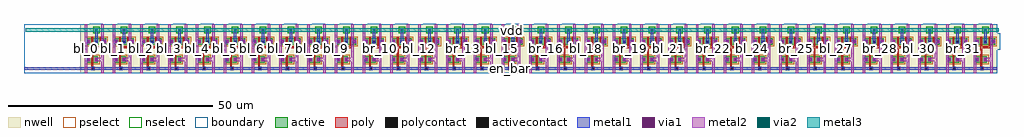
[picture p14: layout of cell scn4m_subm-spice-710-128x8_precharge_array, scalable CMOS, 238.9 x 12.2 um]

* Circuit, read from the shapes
.subckt scn4m_subm-spice-710-128x8_precharge_array bl_0 bl_1 bl_10 bl_11 bl_12 bl_13 bl_14 bl_15 bl_16 bl_17 bl_18 bl_19 bl_2 bl_20 bl_21 bl_22 bl_23 bl_24 bl_25 bl_26 bl_27 bl_28 bl_29 bl_3 bl_30 bl_31 bl_32 bl_4 bl_5 bl_6 bl_7 bl_8 bl_9 br_0 br_1 br_10 br_11 br_12 br_13 br_14 br_15 br_16 br_17 br_18 br_19 br_2 br_20 br_21 br_22 br_23 br_24 br_25 br_26 br_27 br_28 br_29 br_3 br_30 br_31 br_32 br_4 br_5 br_6 br_7 br_8 br_9 en_bar vdd
M1 br_0 en_bar bl_0 vdd pfet w=1.6u l=0.4u
M2 vdd en_bar bl_0 vdd pfet w=1.6u l=0.4u
M3 br_0 en_bar vdd vdd pfet w=1.6u l=0.4u
M4 br_1 en_bar bl_1 vdd pfet w=1.6u l=0.4u
M5 vdd en_bar bl_1 vdd pfet w=1.6u l=0.4u
M6 br_1 en_bar vdd vdd pfet w=1.6u l=0.4u
M7 br_2 en_bar bl_2 vdd pfet w=1.6u l=0.4u
M8 vdd en_bar bl_2 vdd pfet w=1.6u l=0.4u
M9 br_2 en_bar vdd vdd pfet w=1.6u l=0.4u
M10 br_3 en_bar bl_3 vdd pfet w=1.6u l=0.4u
M11 vdd en_bar bl_3 vdd pfet w=1.6u l=0.4u
M12 br_3 en_bar vdd vdd pfet w=1.6u l=0.4u
M13 br_4 en_bar bl_4 vdd pfet w=1.6u l=0.4u
M14 vdd en_bar bl_4 vdd pfet w=1.6u l=0.4u
M15 br_4 en_bar vdd vdd pfet w=1.6u l=0.4u
M16 br_5 en_bar bl_5 vdd pfet w=1.6u l=0.4u
M17 vdd en_bar bl_5 vdd pfet w=1.6u l=0.4u
M18 br_5 en_bar vdd vdd pfet w=1.6u l=0.4u
M19 br_6 en_bar bl_6 vdd pfet w=1.6u l=0.4u
M20 vdd en_bar bl_6 vdd pfet w=1.6u l=0.4u
M21 br_6 en_bar vdd vdd pfet w=1.6u l=0.4u
M22 br_7 en_bar bl_7 vdd pfet w=1.6u l=0.4u
M23 vdd en_bar bl_7 vdd pfet w=1.6u l=0.4u
M24 br_7 en_bar vdd vdd pfet w=1.6u l=0.4u
M25 br_8 en_bar bl_8 vdd pfet w=1.6u l=0.4u
M26 vdd en_bar bl_8 vdd pfet w=1.6u l=0.4u
M27 br_8 en_bar vdd vdd pfet w=1.6u l=0.4u
M28 br_9 en_bar bl_9 vdd pfet w=1.6u l=0.4u
M29 vdd en_bar bl_9 vdd pfet w=1.6u l=0.4u
M30 br_9 en_bar vdd vdd pfet w=1.6u l=0.4u
M31 br_10 en_bar bl_10 vdd pfet w=1.6u l=0.4u
M32 vdd en_bar bl_10 vdd pfet w=1.6u l=0.4u
M33 br_10 en_bar vdd vdd pfet w=1.6u l=0.4u
M34 br_11 en_bar bl_11 vdd pfet w=1.6u l=0.4u
M35 vdd en_bar bl_11 vdd pfet w=1.6u l=0.4u
M36 br_11 en_bar vdd vdd pfet w=1.6u l=0.4u
M37 br_12 en_bar bl_12 vdd pfet w=1.6u l=0.4u
M38 vdd en_bar bl_12 vdd pfet w=1.6u l=0.4u
M39 br_12 en_bar vdd vdd pfet w=1.6u l=0.4u
M40 br_13 en_bar bl_13 vdd pfet w=1.6u l=0.4u
M41 vdd en_bar bl_13 vdd pfet w=1.6u l=0.4u
M42 br_13 en_bar vdd vdd pfet w=1.6u l=0.4u
M43 br_14 en_bar bl_14 vdd pfet w=1.6u l=0.4u
M44 vdd en_bar bl_14 vdd pfet w=1.6u l=0.4u
M45 br_14 en_bar vdd vdd pfet w=1.6u l=0.4u
M46 br_15 en_bar bl_15 vdd pfet w=1.6u l=0.4u
M47 vdd en_bar bl_15 vdd pfet w=1.6u l=0.4u
M48 br_15 en_bar vdd vdd pfet w=1.6u l=0.4u
M49 br_16 en_bar bl_16 vdd pfet w=1.6u l=0.4u
M50 vdd en_bar bl_16 vdd pfet w=1.6u l=0.4u
M51 br_16 en_bar vdd vdd pfet w=1.6u l=0.4u
M52 br_17 en_bar bl_17 vdd pfet w=1.6u l=0.4u
M53 vdd en_bar bl_17 vdd pfet w=1.6u l=0.4u
M54 br_17 en_bar vdd vdd pfet w=1.6u l=0.4u
M55 br_18 en_bar bl_18 vdd pfet w=1.6u l=0.4u
M56 vdd en_bar bl_18 vdd pfet w=1.6u l=0.4u
M57 br_18 en_bar vdd vdd pfet w=1.6u l=0.4u
M58 br_19 en_bar bl_19 vdd pfet w=1.6u l=0.4u
M59 vdd en_bar bl_19 vdd pfet w=1.6u l=0.4u
M60 br_19 en_bar vdd vdd pfet w=1.6u l=0.4u
M61 br_20 en_bar bl_20 vdd pfet w=1.6u l=0.4u
M62 vdd en_bar bl_20 vdd pfet w=1.6u l=0.4u
M63 br_20 en_bar vdd vdd pfet w=1.6u l=0.4u
M64 br_21 en_bar bl_21 vdd pfet w=1.6u l=0.4u
M65 vdd en_bar bl_21 vdd pfet w=1.6u l=0.4u
M66 br_21 en_bar vdd vdd pfet w=1.6u l=0.4u
M67 br_22 en_bar bl_22 vdd pfet w=1.6u l=0.4u
M68 vdd en_bar bl_22 vdd pfet w=1.6u l=0.4u
M69 br_22 en_bar vdd vdd pfet w=1.6u l=0.4u
M70 br_23 en_bar bl_23 vdd pfet w=1.6u l=0.4u
M71 vdd en_bar bl_23 vdd pfet w=1.6u l=0.4u
M72 br_23 en_bar vdd vdd pfet w=1.6u l=0.4u
M73 br_24 en_bar bl_24 vdd pfet w=1.6u l=0.4u
M74 vdd en_bar bl_24 vdd pfet w=1.6u l=0.4u
M75 br_24 en_bar vdd vdd pfet w=1.6u l=0.4u
M76 br_25 en_bar bl_25 vdd pfet w=1.6u l=0.4u
M77 vdd en_bar bl_25 vdd pfet w=1.6u l=0.4u
M78 br_25 en_bar vdd vdd pfet w=1.6u l=0.4u
M79 br_26 en_bar bl_26 vdd pfet w=1.6u l=0.4u
M80 vdd en_bar bl_26 vdd pfet w=1.6u l=0.4u
M81 br_26 en_bar vdd vdd pfet w=1.6u l=0.4u
M82 br_27 en_bar bl_27 vdd pfet w=1.6u l=0.4u
M83 vdd en_bar bl_27 vdd pfet w=1.6u l=0.4u
M84 br_27 en_bar vdd vdd pfet w=1.6u l=0.4u
M85 br_28 en_bar bl_28 vdd pfet w=1.6u l=0.4u
M86 vdd en_bar bl_28 vdd pfet w=1.6u l=0.4u
M87 br_28 en_bar vdd vdd pfet w=1.6u l=0.4u
M88 br_29 en_bar bl_29 vdd pfet w=1.6u l=0.4u
M89 vdd en_bar bl_29 vdd pfet w=1.6u l=0.4u
M90 br_29 en_bar vdd vdd pfet w=1.6u l=0.4u
M91 br_30 en_bar bl_30 vdd pfet w=1.6u l=0.4u
M92 vdd en_bar bl_30 vdd pfet w=1.6u l=0.4u
M93 br_30 en_bar vdd vdd pfet w=1.6u l=0.4u
M94 br_31 en_bar bl_31 vdd pfet w=1.6u l=0.4u
M95 vdd en_bar bl_31 vdd pfet w=1.6u l=0.4u
M96 br_31 en_bar vdd vdd pfet w=1.6u l=0.4u
M97 br_32 en_bar bl_32 vdd pfet w=1.6u l=0.4u
M98 vdd en_bar bl_32 vdd pfet w=1.6u l=0.4u
M99 br_32 en_bar vdd vdd pfet w=1.6u l=0.4u
.ends

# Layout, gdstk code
import gdstk
lib = gdstk.Library(unit=1e-6, precision=1e-09)
def R(c, l, rs):  # rectangles x0, y0, x1, y1
    for r in rs: c.add(gdstk.rectangle(r[:2], r[2:], *l))
nwell = (42, 0)
active = (43, 0)
pselect = (44, 0)
nselect = (45, 0)
poly = (46, 0)
polycontact = (47, 0)
activecontact = (48, 0)
metal1 = (49, 0)
via1 = (50, 0)
metal2 = (51, 0)
via2 = (61, 0)
metal3 = (62, 0)
boundary = (63, 0)

scn4m_subm_spice_710_128 = lib.new_cell('scn4m_subm-spice-710-128x8_contact_12')
R(scn4m_subm_spice_710_128, nwell, [(-1.2,-1.2,2,2)])
R(scn4m_subm_spice_710_128, active, [(0,0,0.8,0.8)])
R(scn4m_subm_spice_710_128, pselect, [(-0.4,-0.4,1.2,1.2)])
R(scn4m_subm_spice_710_128, activecontact, [(0.2,0.2,0.6,0.6)])
R(scn4m_subm_spice_710_128, metal1, [(0,0,0.8,0.8)])
R(scn4m_subm_spice_710_128, boundary, [(-1.2,-1.2,2,2)])

c_scn4m_subm_spice_710_128 = lib.new_cell('scn4m_subm-spice-710-128x8_pmos_m1_w1_600_sm1_dm1')
R(c_scn4m_subm_spice_710_128, nwell, [(-1.2,-1.2,4,2.8)])
R(c_scn4m_subm_spice_710_128, active, [(0,0,2.8,1.6)])
R(c_scn4m_subm_spice_710_128, pselect, [(-0.4,-0.4,3.2,2)])
R(c_scn4m_subm_spice_710_128, poly, [(1.2,-0.4,1.6,2), (1.2,-0.4,1.6,2)])
R(c_scn4m_subm_spice_710_128, metal1, [(0,0.4,0.8,1.2), (2,0.4,2.8,1.2)])
R(c_scn4m_subm_spice_710_128, boundary, [(-1.2,-1.2,4,2.8)])
c_scn4m_subm_spice_710_128.add(gdstk.Reference(scn4m_subm_spice_710_128, (0,0.4)))
c_scn4m_subm_spice_710_128.add(gdstk.Reference(scn4m_subm_spice_710_128, (2,0.4)))
c_scn4m_subm_spice_710_128.add(gdstk.Label('G', (1.4,0.8), layer=46, texttype=0))
c_scn4m_subm_spice_710_128.add(gdstk.Label('S', (0.4,0.8), layer=49, texttype=0))
c_scn4m_subm_spice_710_128.add(gdstk.Label('D', (2.4,0.8), layer=49, texttype=0))

c_scn4m_subm_spice_710_128_ = lib.new_cell('scn4m_subm-spice-710-128x8_contact_15')
R(c_scn4m_subm_spice_710_128_, poly, [(0,0,0.8,0.8)])
R(c_scn4m_subm_spice_710_128_, polycontact, [(0.2,0.2,0.6,0.6)])
R(c_scn4m_subm_spice_710_128_, metal1, [(0,0,0.8,0.8)])
R(c_scn4m_subm_spice_710_128_, boundary, [(0,0,0.8,0.8)])

c_scn4m_subm_spice_710_128__ = lib.new_cell('scn4m_subm-spice-710-128x8_contact_23')
R(c_scn4m_subm_spice_710_128__, nwell, [(-1.2,-1.2,2,2)])
R(c_scn4m_subm_spice_710_128__, active, [(0,0,0.8,0.8)])
R(c_scn4m_subm_spice_710_128__, nselect, [(-0.4,-0.4,1.2,1.2)])
R(c_scn4m_subm_spice_710_128__, activecontact, [(0.2,0.2,0.6,0.6)])
R(c_scn4m_subm_spice_710_128__, metal1, [(0,0,0.8,0.8)])
R(c_scn4m_subm_spice_710_128__, boundary, [(-1.2,-1.2,2,2)])

c_scn4m_subm_spice_710_128___ = lib.new_cell('scn4m_subm-spice-710-128x8_contact_18')
R(c_scn4m_subm_spice_710_128___, metal1, [(0,0,0.8,0.8)])
R(c_scn4m_subm_spice_710_128___, via1, [(0.2,0.2,0.6,0.6)])
R(c_scn4m_subm_spice_710_128___, metal2, [(0,0,0.8,0.8)])
R(c_scn4m_subm_spice_710_128___, boundary, [(0,0,0.8,0.8)])

c_scn4m_subm_spice_710_128____ = lib.new_cell('scn4m_subm-spice-710-128x8_contact_24')
R(c_scn4m_subm_spice_710_128____, metal1, [(0,0,0.8,0.8)])
R(c_scn4m_subm_spice_710_128____, via1, [(0.2,0.2,0.6,0.6)])
R(c_scn4m_subm_spice_710_128____, metal2, [(0,0,0.8,0.8)])
R(c_scn4m_subm_spice_710_128____, boundary, [(0,0,0.8,0.8)])

c_scn4m_subm_spice_710_128_____ = lib.new_cell('scn4m_subm-spice-710-128x8_precharge_0')
R(c_scn4m_subm_spice_710_128_____, nwell, [(0,0,6.8,12)])
R(c_scn4m_subm_spice_710_128_____, poly, [(2.7,1,3.1,1.4), (2.9,1,3.1,1.4), (2.7,1.2,3.1,2.2), (2.7,4.6,3.1,6.6), (2.7,6.2,5.1,6.6)])
R(c_scn4m_subm_spice_710_128_____, metal1, [(0,0.9,6.8,1.5), (3.6,7.8,4.2,10.6), (3.6,10.3,4.2,10.9)])
R(c_scn4m_subm_spice_710_128_____, metal2, [(1.1,0,1.7,12), (1.1,0,1.7,12), (5.1,0,5.7,12), (5.1,0,5.7,12), (1.4,3,1.9,3.8), (3.9,3,5.4,3.8), (1.4,7.4,1.9,8.2), (5.4,7.4,5.9,8.2)])
R(c_scn4m_subm_spice_710_128_____, boundary, [(0,0,6.8,12)])
c_scn4m_subm_spice_710_128_____.add(gdstk.Reference(c_scn4m_subm_spice_710_128, (1.5,2.6)))
c_scn4m_subm_spice_710_128_____.add(gdstk.Reference(c_scn4m_subm_spice_710_128, (1.5,7)))
c_scn4m_subm_spice_710_128_____.add(gdstk.Reference(c_scn4m_subm_spice_710_128, (3.5,7)))
c_scn4m_subm_spice_710_128_____.add(gdstk.Reference(c_scn4m_subm_spice_710_128_, (2.7,0.8)))
c_scn4m_subm_spice_710_128_____.add(gdstk.Reference(c_scn4m_subm_spice_710_128__, (3.5,10.2)))
c_scn4m_subm_spice_710_128_____.add(gdstk.Reference(c_scn4m_subm_spice_710_128___, (3.5,10.2)))
c_scn4m_subm_spice_710_128_____.add(gdstk.Reference(c_scn4m_subm_spice_710_128____, (1.5,3)))
c_scn4m_subm_spice_710_128_____.add(gdstk.Reference(c_scn4m_subm_spice_710_128____, (3.5,3)))
c_scn4m_subm_spice_710_128_____.add(gdstk.Reference(c_scn4m_subm_spice_710_128____, (1.5,7.4)))
c_scn4m_subm_spice_710_128_____.add(gdstk.Reference(c_scn4m_subm_spice_710_128____, (5.5,7.4)))
c_scn4m_subm_spice_710_128_____.add(gdstk.Label('en_bar', (3.4,1.2), layer=49, texttype=0))
c_scn4m_subm_spice_710_128_____.add(gdstk.Label('vdd', (3.9,10.6), layer=49, texttype=0))
c_scn4m_subm_spice_710_128_____.add(gdstk.Label('bl', (1.4,6), layer=51, texttype=0))
c_scn4m_subm_spice_710_128_____.add(gdstk.Label('br', (5.4,6), layer=51, texttype=0))

c_scn4m_subm_spice_710_128______ = lib.new_cell('scn4m_subm-spice-710-128x8_contact_19')
R(c_scn4m_subm_spice_710_128______, metal2, [(0,0,0.8,0.8)])
R(c_scn4m_subm_spice_710_128______, via2, [(0.2,0.2,0.6,0.6)])
R(c_scn4m_subm_spice_710_128______, metal3, [(0,0,0.8,0.8)])
R(c_scn4m_subm_spice_710_128______, boundary, [(0,0,0.8,0.8)])

c_scn4m_subm_spice_710_128_______ = lib.new_cell('scn4m_subm-spice-710-128x8_precharge_array')
R(c_scn4m_subm_spice_710_128_______, metal1, [(0,0.9,238.2,1.5), (16.9,0.9,17.5,1.5), (16.9,0.9,17.5,1.5), (23.7,0.9,24.3,1.5), (23.7,0.9,24.3,1.5), (30.5,0.9,31.1,1.5), (30.5,0.9,31.1,1.5), (37.3,0.9,37.9,1.5), (37.3,0.9,37.9,1.5), (44.1,0.9,44.7,1.5), (44.1,0.9,44.7,1.5), (50.9,0.9,51.5,1.5), (50.9,0.9,51.5,1.5), (57.7,0.9,58.3,1.5), (57.7,0.9,58.3,1.5), (64.5,0.9,65.1,1.5), (64.5,0.9,65.1,1.5), (71.3,0.9,71.9,1.5), (71.3,0.9,71.9,1.5), (78.1,0.9,78.7,1.5), (78.1,0.9,78.7,1.5), (84.9,0.9,85.5,1.5), (84.9,0.9,85.5,1.5), (91.7,0.9,92.3,1.5), (91.7,0.9,92.3,1.5), (98.5,0.9,99.1,1.5), (98.5,0.9,99.1,1.5), (105.3,0.9,105.9,1.5), (105.3,0.9,105.9,1.5), (112.1,0.9,112.7,1.5), (112.1,0.9,112.7,1.5), (118.9,0.9,119.5,1.5), (118.9,0.9,119.5,1.5), (125.7,0.9,126.3,1.5), (125.7,0.9,126.3,1.5), (132.5,0.9,133.1,1.5), (132.5,0.9,133.1,1.5), (139.3,0.9,139.9,1.5), (139.3,0.9,139.9,1.5), (146.1,0.9,146.7,1.5), (146.1,0.9,146.7,1.5), (152.9,0.9,153.5,1.5), (152.9,0.9,153.5,1.5), (159.7,0.9,160.3,1.5), (159.7,0.9,160.3,1.5), (166.5,0.9,167.1,1.5), (166.5,0.9,167.1,1.5), (173.3,0.9,173.9,1.5), (173.3,0.9,173.9,1.5), (180.1,0.9,180.7,1.5), (180.1,0.9,180.7,1.5), (186.9,0.9,187.5,1.5), (186.9,0.9,187.5,1.5), (193.7,0.9,194.3,1.5), (193.7,0.9,194.3,1.5), (200.5,0.9,201.1,1.5), (200.5,0.9,201.1,1.5), (207.3,0.9,207.9,1.5), (207.3,0.9,207.9,1.5), (214.1,0.9,214.7,1.5), (214.1,0.9,214.7,1.5), (220.9,0.9,221.5,1.5), (220.9,0.9,221.5,1.5), (227.7,0.9,228.3,1.5), (227.7,0.9,228.3,1.5), (234.5,0.9,235.1,1.5), (234.5,0.9,235.1,1.5)])
R(c_scn4m_subm_spice_710_128_______, metal2, [(14.9,0,15.5,12), (18.9,0,19.5,12), (21.7,0,22.3,12), (25.7,0,26.3,12), (28.5,0,29.1,12), (32.5,0,33.1,12), (35.3,0,35.9,12), (39.3,0,39.9,12), (42.1,0,42.7,12), (46.1,0,46.7,12), (48.9,0,49.5,12), (52.9,0,53.5,12), (55.7,0,56.3,12), (59.7,0,60.3,12), (62.5,0,63.1,12), (66.5,0,67.1,12), (69.3,0,69.9,12), (73.3,0,73.9,12), (76.1,0,76.7,12), (80.1,0,80.7,12), (82.9,0,83.5,12), (86.9,0,87.5,12), (89.7,0,90.3,12), (93.7,0,94.3,12), (96.5,0,97.1,12), (100.5,0,101.1,12), (103.3,0,103.9,12), (107.3,0,107.9,12), (110.1,0,110.7,12), (114.1,0,114.7,12), (116.9,0,117.5,12), (120.9,0,121.5,12), (123.7,0,124.3,12), (127.7,0,128.3,12), (130.5,0,131.1,12), (134.5,0,135.1,12), (137.3,0,137.9,12), (141.3,0,141.9,12), (144.1,0,144.7,12), (148.1,0,148.7,12), (150.9,0,151.5,12), (154.9,0,155.5,12), (157.7,0,158.3,12), (161.7,0,162.3,12), (164.5,0,165.1,12), (168.5,0,169.1,12), (171.3,0,171.9,12), (175.3,0,175.9,12), (178.1,0,178.7,12), (182.1,0,182.7,12), (184.9,0,185.5,12), (188.9,0,189.5,12), (191.7,0,192.3,12), (195.7,0,196.3,12), (198.5,0,199.1,12), (202.5,0,203.1,12), (205.3,0,205.9,12), (209.3,0,209.9,12), (212.1,0,212.7,12), (216.1,0,216.7,12), (218.9,0,219.5,12), (222.9,0,223.5,12), (225.7,0,226.3,12), (229.7,0,230.3,12), (232.5,0,233.1,12), (236.5,0,237.1,12)])
R(c_scn4m_subm_spice_710_128_______, metal3, [(0.4,10.2,238.6,11)])
R(c_scn4m_subm_spice_710_128_______, boundary, [(0,0,238.2,12)])
c_scn4m_subm_spice_710_128_______.add(gdstk.Reference(c_scn4m_subm_spice_710_128_____, (13.8,0)))
c_scn4m_subm_spice_710_128_______.add(gdstk.Reference(c_scn4m_subm_spice_710_128_____, (20.6,0)))
c_scn4m_subm_spice_710_128_______.add(gdstk.Reference(c_scn4m_subm_spice_710_128_____, (27.4,0)))
c_scn4m_subm_spice_710_128_______.add(gdstk.Reference(c_scn4m_subm_spice_710_128_____, (34.2,0)))
c_scn4m_subm_spice_710_128_______.add(gdstk.Reference(c_scn4m_subm_spice_710_128_____, (41,0)))
c_scn4m_subm_spice_710_128_______.add(gdstk.Reference(c_scn4m_subm_spice_710_128_____, (47.8,0)))
c_scn4m_subm_spice_710_128_______.add(gdstk.Reference(c_scn4m_subm_spice_710_128_____, (54.6,0)))
c_scn4m_subm_spice_710_128_______.add(gdstk.Reference(c_scn4m_subm_spice_710_128_____, (61.4,0)))
c_scn4m_subm_spice_710_128_______.add(gdstk.Reference(c_scn4m_subm_spice_710_128_____, (68.2,0)))
c_scn4m_subm_spice_710_128_______.add(gdstk.Reference(c_scn4m_subm_spice_710_128_____, (75,0)))
c_scn4m_subm_spice_710_128_______.add(gdstk.Reference(c_scn4m_subm_spice_710_128_____, (81.8,0)))
c_scn4m_subm_spice_710_128_______.add(gdstk.Reference(c_scn4m_subm_spice_710_128_____, (88.6,0)))
c_scn4m_subm_spice_710_128_______.add(gdstk.Reference(c_scn4m_subm_spice_710_128_____, (95.4,0)))
c_scn4m_subm_spice_710_128_______.add(gdstk.Reference(c_scn4m_subm_spice_710_128_____, (102.2,0)))
c_scn4m_subm_spice_710_128_______.add(gdstk.Reference(c_scn4m_subm_spice_710_128_____, (109,0)))
c_scn4m_subm_spice_710_128_______.add(gdstk.Reference(c_scn4m_subm_spice_710_128_____, (115.8,0)))
c_scn4m_subm_spice_710_128_______.add(gdstk.Reference(c_scn4m_subm_spice_710_128_____, (122.6,0)))
c_scn4m_subm_spice_710_128_______.add(gdstk.Reference(c_scn4m_subm_spice_710_128_____, (129.4,0)))
c_scn4m_subm_spice_710_128_______.add(gdstk.Reference(c_scn4m_subm_spice_710_128_____, (136.2,0)))
c_scn4m_subm_spice_710_128_______.add(gdstk.Reference(c_scn4m_subm_spice_710_128_____, (143,0)))
c_scn4m_subm_spice_710_128_______.add(gdstk.Reference(c_scn4m_subm_spice_710_128_____, (149.8,0)))
c_scn4m_subm_spice_710_128_______.add(gdstk.Reference(c_scn4m_subm_spice_710_128_____, (156.6,0)))
c_scn4m_subm_spice_710_128_______.add(gdstk.Reference(c_scn4m_subm_spice_710_128_____, (163.4,0)))
c_scn4m_subm_spice_710_128_______.add(gdstk.Reference(c_scn4m_subm_spice_710_128_____, (170.2,0)))
c_scn4m_subm_spice_710_128_______.add(gdstk.Reference(c_scn4m_subm_spice_710_128_____, (177,0)))
c_scn4m_subm_spice_710_128_______.add(gdstk.Reference(c_scn4m_subm_spice_710_128_____, (183.8,0)))
c_scn4m_subm_spice_710_128_______.add(gdstk.Reference(c_scn4m_subm_spice_710_128_____, (190.6,0)))
c_scn4m_subm_spice_710_128_______.add(gdstk.Reference(c_scn4m_subm_spice_710_128_____, (197.4,0)))
c_scn4m_subm_spice_710_128_______.add(gdstk.Reference(c_scn4m_subm_spice_710_128_____, (204.2,0)))
c_scn4m_subm_spice_710_128_______.add(gdstk.Reference(c_scn4m_subm_spice_710_128_____, (211,0)))
c_scn4m_subm_spice_710_128_______.add(gdstk.Reference(c_scn4m_subm_spice_710_128_____, (217.8,0)))
c_scn4m_subm_spice_710_128_______.add(gdstk.Reference(c_scn4m_subm_spice_710_128_____, (224.6,0)))
c_scn4m_subm_spice_710_128_______.add(gdstk.Reference(c_scn4m_subm_spice_710_128_____, (231.4,0)))
c_scn4m_subm_spice_710_128_______.add(gdstk.Reference(c_scn4m_subm_spice_710_128___, (17.3,10.2)))
c_scn4m_subm_spice_710_128_______.add(gdstk.Reference(c_scn4m_subm_spice_710_128______, (17.3,10.2)))
c_scn4m_subm_spice_710_128_______.add(gdstk.Reference(c_scn4m_subm_spice_710_128___, (24.1,10.2)))
c_scn4m_subm_spice_710_128_______.add(gdstk.Reference(c_scn4m_subm_spice_710_128______, (24.1,10.2)))
c_scn4m_subm_spice_710_128_______.add(gdstk.Reference(c_scn4m_subm_spice_710_128___, (30.9,10.2)))
c_scn4m_subm_spice_710_128_______.add(gdstk.Reference(c_scn4m_subm_spice_710_128______, (30.9,10.2)))
c_scn4m_subm_spice_710_128_______.add(gdstk.Reference(c_scn4m_subm_spice_710_128___, (37.7,10.2)))
c_scn4m_subm_spice_710_128_______.add(gdstk.Reference(c_scn4m_subm_spice_710_128______, (37.7,10.2)))
c_scn4m_subm_spice_710_128_______.add(gdstk.Reference(c_scn4m_subm_spice_710_128___, (44.5,10.2)))
c_scn4m_subm_spice_710_128_______.add(gdstk.Reference(c_scn4m_subm_spice_710_128______, (44.5,10.2)))
c_scn4m_subm_spice_710_128_______.add(gdstk.Reference(c_scn4m_subm_spice_710_128___, (51.3,10.2)))
c_scn4m_subm_spice_710_128_______.add(gdstk.Reference(c_scn4m_subm_spice_710_128______, (51.3,10.2)))
c_scn4m_subm_spice_710_128_______.add(gdstk.Reference(c_scn4m_subm_spice_710_128___, (58.1,10.2)))
c_scn4m_subm_spice_710_128_______.add(gdstk.Reference(c_scn4m_subm_spice_710_128______, (58.1,10.2)))
c_scn4m_subm_spice_710_128_______.add(gdstk.Reference(c_scn4m_subm_spice_710_128___, (64.9,10.2)))
c_scn4m_subm_spice_710_128_______.add(gdstk.Reference(c_scn4m_subm_spice_710_128______, (64.9,10.2)))
c_scn4m_subm_spice_710_128_______.add(gdstk.Reference(c_scn4m_subm_spice_710_128___, (71.7,10.2)))
c_scn4m_subm_spice_710_128_______.add(gdstk.Reference(c_scn4m_subm_spice_710_128______, (71.7,10.2)))
c_scn4m_subm_spice_710_128_______.add(gdstk.Reference(c_scn4m_subm_spice_710_128___, (78.5,10.2)))
c_scn4m_subm_spice_710_128_______.add(gdstk.Reference(c_scn4m_subm_spice_710_128______, (78.5,10.2)))
c_scn4m_subm_spice_710_128_______.add(gdstk.Reference(c_scn4m_subm_spice_710_128___, (85.3,10.2)))
c_scn4m_subm_spice_710_128_______.add(gdstk.Reference(c_scn4m_subm_spice_710_128______, (85.3,10.2)))
c_scn4m_subm_spice_710_128_______.add(gdstk.Reference(c_scn4m_subm_spice_710_128___, (92.1,10.2)))
c_scn4m_subm_spice_710_128_______.add(gdstk.Reference(c_scn4m_subm_spice_710_128______, (92.1,10.2)))
c_scn4m_subm_spice_710_128_______.add(gdstk.Reference(c_scn4m_subm_spice_710_128___, (98.9,10.2)))
c_scn4m_subm_spice_710_128_______.add(gdstk.Reference(c_scn4m_subm_spice_710_128______, (98.9,10.2)))
c_scn4m_subm_spice_710_128_______.add(gdstk.Reference(c_scn4m_subm_spice_710_128___, (105.7,10.2)))
c_scn4m_subm_spice_710_128_______.add(gdstk.Reference(c_scn4m_subm_spice_710_128______, (105.7,10.2)))
c_scn4m_subm_spice_710_128_______.add(gdstk.Reference(c_scn4m_subm_spice_710_128___, (112.5,10.2)))
c_scn4m_subm_spice_710_128_______.add(gdstk.Reference(c_scn4m_subm_spice_710_128______, (112.5,10.2)))
c_scn4m_subm_spice_710_128_______.add(gdstk.Reference(c_scn4m_subm_spice_710_128___, (119.3,10.2)))
c_scn4m_subm_spice_710_128_______.add(gdstk.Reference(c_scn4m_subm_spice_710_128______, (119.3,10.2)))
c_scn4m_subm_spice_710_128_______.add(gdstk.Reference(c_scn4m_subm_spice_710_128___, (126.1,10.2)))
c_scn4m_subm_spice_710_128_______.add(gdstk.Reference(c_scn4m_subm_spice_710_128______, (126.1,10.2)))
c_scn4m_subm_spice_710_128_______.add(gdstk.Reference(c_scn4m_subm_spice_710_128___, (132.9,10.2)))
c_scn4m_subm_spice_710_128_______.add(gdstk.Reference(c_scn4m_subm_spice_710_128______, (132.9,10.2)))
c_scn4m_subm_spice_710_128_______.add(gdstk.Reference(c_scn4m_subm_spice_710_128___, (139.7,10.2)))
c_scn4m_subm_spice_710_128_______.add(gdstk.Reference(c_scn4m_subm_spice_710_128______, (139.7,10.2)))
c_scn4m_subm_spice_710_128_______.add(gdstk.Reference(c_scn4m_subm_spice_710_128___, (146.5,10.2)))
c_scn4m_subm_spice_710_128_______.add(gdstk.Reference(c_scn4m_subm_spice_710_128______, (146.5,10.2)))
c_scn4m_subm_spice_710_128_______.add(gdstk.Reference(c_scn4m_subm_spice_710_128___, (153.3,10.2)))
c_scn4m_subm_spice_710_128_______.add(gdstk.Reference(c_scn4m_subm_spice_710_128______, (153.3,10.2)))
c_scn4m_subm_spice_710_128_______.add(gdstk.Reference(c_scn4m_subm_spice_710_128___, (160.1,10.2)))
c_scn4m_subm_spice_710_128_______.add(gdstk.Reference(c_scn4m_subm_spice_710_128______, (160.1,10.2)))
c_scn4m_subm_spice_710_128_______.add(gdstk.Reference(c_scn4m_subm_spice_710_128___, (166.9,10.2)))
c_scn4m_subm_spice_710_128_______.add(gdstk.Reference(c_scn4m_subm_spice_710_128______, (166.9,10.2)))
c_scn4m_subm_spice_710_128_______.add(gdstk.Reference(c_scn4m_subm_spice_710_128___, (173.7,10.2)))
c_scn4m_subm_spice_710_128_______.add(gdstk.Reference(c_scn4m_subm_spice_710_128______, (173.7,10.2)))
c_scn4m_subm_spice_710_128_______.add(gdstk.Reference(c_scn4m_subm_spice_710_128___, (180.5,10.2)))
c_scn4m_subm_spice_710_128_______.add(gdstk.Reference(c_scn4m_subm_spice_710_128______, (180.5,10.2)))
c_scn4m_subm_spice_710_128_______.add(gdstk.Reference(c_scn4m_subm_spice_710_128___, (187.3,10.2)))
c_scn4m_subm_spice_710_128_______.add(gdstk.Reference(c_scn4m_subm_spice_710_128______, (187.3,10.2)))
c_scn4m_subm_spice_710_128_______.add(gdstk.Reference(c_scn4m_subm_spice_710_128___, (194.1,10.2)))
c_scn4m_subm_spice_710_128_______.add(gdstk.Reference(c_scn4m_subm_spice_710_128______, (194.1,10.2)))
c_scn4m_subm_spice_710_128_______.add(gdstk.Reference(c_scn4m_subm_spice_710_128___, (200.9,10.2)))
c_scn4m_subm_spice_710_128_______.add(gdstk.Reference(c_scn4m_subm_spice_710_128______, (200.9,10.2)))
c_scn4m_subm_spice_710_128_______.add(gdstk.Reference(c_scn4m_subm_spice_710_128___, (207.7,10.2)))
c_scn4m_subm_spice_710_128_______.add(gdstk.Reference(c_scn4m_subm_spice_710_128______, (207.7,10.2)))
c_scn4m_subm_spice_710_128_______.add(gdstk.Reference(c_scn4m_subm_spice_710_128___, (214.5,10.2)))
c_scn4m_subm_spice_710_128_______.add(gdstk.Reference(c_scn4m_subm_spice_710_128______, (214.5,10.2)))
c_scn4m_subm_spice_710_128_______.add(gdstk.Reference(c_scn4m_subm_spice_710_128___, (221.3,10.2)))
c_scn4m_subm_spice_710_128_______.add(gdstk.Reference(c_scn4m_subm_spice_710_128______, (221.3,10.2)))
c_scn4m_subm_spice_710_128_______.add(gdstk.Reference(c_scn4m_subm_spice_710_128___, (228.1,10.2)))
c_scn4m_subm_spice_710_128_______.add(gdstk.Reference(c_scn4m_subm_spice_710_128______, (228.1,10.2)))
c_scn4m_subm_spice_710_128_______.add(gdstk.Reference(c_scn4m_subm_spice_710_128___, (234.9,10.2)))
c_scn4m_subm_spice_710_128_______.add(gdstk.Reference(c_scn4m_subm_spice_710_128______, (234.9,10.2)))
c_scn4m_subm_spice_710_128_______.add(gdstk.Label('en_bar', (119.1,1.2), layer=49, texttype=0))
c_scn4m_subm_spice_710_128_______.add(gdstk.Label('bl_0', (15.2,6), layer=51, texttype=0))
c_scn4m_subm_spice_710_128_______.add(gdstk.Label('br_0', (19.2,6), layer=51, texttype=0))
c_scn4m_subm_spice_710_128_______.add(gdstk.Label('bl_1', (22,6), layer=51, texttype=0))
c_scn4m_subm_spice_710_128_______.add(gdstk.Label('br_1', (26,6), layer=51, texttype=0))
c_scn4m_subm_spice_710_128_______.add(gdstk.Label('bl_2', (28.8,6), layer=51, texttype=0))
c_scn4m_subm_spice_710_128_______.add(gdstk.Label('br_2', (32.8,6), layer=51, texttype=0))
c_scn4m_subm_spice_710_128_______.add(gdstk.Label('bl_3', (35.6,6), layer=51, texttype=0))
c_scn4m_subm_spice_710_128_______.add(gdstk.Label('br_3', (39.6,6), layer=51, texttype=0))
c_scn4m_subm_spice_710_128_______.add(gdstk.Label('bl_4', (42.4,6), layer=51, texttype=0))
c_scn4m_subm_spice_710_128_______.add(gdstk.Label('br_4', (46.4,6), layer=51, texttype=0))
c_scn4m_subm_spice_710_128_______.add(gdstk.Label('bl_5', (49.2,6), layer=51, texttype=0))
c_scn4m_subm_spice_710_128_______.add(gdstk.Label('br_5', (53.2,6), layer=51, texttype=0))
c_scn4m_subm_spice_710_128_______.add(gdstk.Label('bl_6', (56,6), layer=51, texttype=0))
c_scn4m_subm_spice_710_128_______.add(gdstk.Label('br_6', (60,6), layer=51, texttype=0))
c_scn4m_subm_spice_710_128_______.add(gdstk.Label('bl_7', (62.8,6), layer=51, texttype=0))
c_scn4m_subm_spice_710_128_______.add(gdstk.Label('br_7', (66.8,6), layer=51, texttype=0))
c_scn4m_subm_spice_710_128_______.add(gdstk.Label('bl_8', (69.6,6), layer=51, texttype=0))
c_scn4m_subm_spice_710_128_______.add(gdstk.Label('br_8', (73.6,6), layer=51, texttype=0))
c_scn4m_subm_spice_710_128_______.add(gdstk.Label('bl_9', (76.4,6), layer=51, texttype=0))
c_scn4m_subm_spice_710_128_______.add(gdstk.Label('br_9', (80.4,6), layer=51, texttype=0))
c_scn4m_subm_spice_710_128_______.add(gdstk.Label('bl_10', (83.2,6), layer=51, texttype=0))
c_scn4m_subm_spice_710_128_______.add(gdstk.Label('br_10', (87.2,6), layer=51, texttype=0))
c_scn4m_subm_spice_710_128_______.add(gdstk.Label('bl_11', (90,6), layer=51, texttype=0))
c_scn4m_subm_spice_710_128_______.add(gdstk.Label('br_11', (94,6), layer=51, texttype=0))
c_scn4m_subm_spice_710_128_______.add(gdstk.Label('bl_12', (96.8,6), layer=51, texttype=0))
c_scn4m_subm_spice_710_128_______.add(gdstk.Label('br_12', (100.8,6), layer=51, texttype=0))
c_scn4m_subm_spice_710_128_______.add(gdstk.Label('bl_13', (103.6,6), layer=51, texttype=0))
c_scn4m_subm_spice_710_128_______.add(gdstk.Label('br_13', (107.6,6), layer=51, texttype=0))
c_scn4m_subm_spice_710_128_______.add(gdstk.Label('bl_14', (110.4,6), layer=51, texttype=0))
c_scn4m_subm_spice_710_128_______.add(gdstk.Label('br_14', (114.4,6), layer=51, texttype=0))
c_scn4m_subm_spice_710_128_______.add(gdstk.Label('bl_15', (117.2,6), layer=51, texttype=0))
c_scn4m_subm_spice_710_128_______.add(gdstk.Label('br_15', (121.2,6), layer=51, texttype=0))
c_scn4m_subm_spice_710_128_______.add(gdstk.Label('bl_16', (124,6), layer=51, texttype=0))
c_scn4m_subm_spice_710_128_______.add(gdstk.Label('br_16', (128,6), layer=51, texttype=0))
c_scn4m_subm_spice_710_128_______.add(gdstk.Label('bl_17', (130.8,6), layer=51, texttype=0))
c_scn4m_subm_spice_710_128_______.add(gdstk.Label('br_17', (134.8,6), layer=51, texttype=0))
c_scn4m_subm_spice_710_128_______.add(gdstk.Label('bl_18', (137.6,6), layer=51, texttype=0))
c_scn4m_subm_spice_710_128_______.add(gdstk.Label('br_18', (141.6,6), layer=51, texttype=0))
c_scn4m_subm_spice_710_128_______.add(gdstk.Label('bl_19', (144.4,6), layer=51, texttype=0))
c_scn4m_subm_spice_710_128_______.add(gdstk.Label('br_19', (148.4,6), layer=51, texttype=0))
c_scn4m_subm_spice_710_128_______.add(gdstk.Label('bl_20', (151.2,6), layer=51, texttype=0))
c_scn4m_subm_spice_710_128_______.add(gdstk.Label('br_20', (155.2,6), layer=51, texttype=0))
c_scn4m_subm_spice_710_128_______.add(gdstk.Label('bl_21', (158,6), layer=51, texttype=0))
c_scn4m_subm_spice_710_128_______.add(gdstk.Label('br_21', (162,6), layer=51, texttype=0))
c_scn4m_subm_spice_710_128_______.add(gdstk.Label('bl_22', (164.8,6), layer=51, texttype=0))
c_scn4m_subm_spice_710_128_______.add(gdstk.Label('br_22', (168.8,6), layer=51, texttype=0))
c_scn4m_subm_spice_710_128_______.add(gdstk.Label('bl_23', (171.6,6), layer=51, texttype=0))
c_scn4m_subm_spice_710_128_______.add(gdstk.Label('br_23', (175.6,6), layer=51, texttype=0))
c_scn4m_subm_spice_710_128_______.add(gdstk.Label('bl_24', (178.4,6), layer=51, texttype=0))
c_scn4m_subm_spice_710_128_______.add(gdstk.Label('br_24', (182.4,6), layer=51, texttype=0))
c_scn4m_subm_spice_710_128_______.add(gdstk.Label('bl_25', (185.2,6), layer=51, texttype=0))
c_scn4m_subm_spice_710_128_______.add(gdstk.Label('br_25', (189.2,6), layer=51, texttype=0))
c_scn4m_subm_spice_710_128_______.add(gdstk.Label('bl_26', (192,6), layer=51, texttype=0))
c_scn4m_subm_spice_710_128_______.add(gdstk.Label('br_26', (196,6), layer=51, texttype=0))
c_scn4m_subm_spice_710_128_______.add(gdstk.Label('bl_27', (198.8,6), layer=51, texttype=0))
c_scn4m_subm_spice_710_128_______.add(gdstk.Label('br_27', (202.8,6), layer=51, texttype=0))
c_scn4m_subm_spice_710_128_______.add(gdstk.Label('bl_28', (205.6,6), layer=51, texttype=0))
c_scn4m_subm_spice_710_128_______.add(gdstk.Label('br_28', (209.6,6), layer=51, texttype=0))
c_scn4m_subm_spice_710_128_______.add(gdstk.Label('bl_29', (212.4,6), layer=51, texttype=0))
c_scn4m_subm_spice_710_128_______.add(gdstk.Label('br_29', (216.4,6), layer=51, texttype=0))
c_scn4m_subm_spice_710_128_______.add(gdstk.Label('bl_30', (219.2,6), layer=51, texttype=0))
c_scn4m_subm_spice_710_128_______.add(gdstk.Label('br_30', (223.2,6), layer=51, texttype=0))
c_scn4m_subm_spice_710_128_______.add(gdstk.Label('bl_31', (226,6), layer=51, texttype=0))
c_scn4m_subm_spice_710_128_______.add(gdstk.Label('br_31', (230,6), layer=51, texttype=0))
c_scn4m_subm_spice_710_128_______.add(gdstk.Label('bl_32', (232.8,6), layer=51, texttype=0))
c_scn4m_subm_spice_710_128_______.add(gdstk.Label('br_32', (236.8,6), layer=51, texttype=0))
c_scn4m_subm_spice_710_128_______.add(gdstk.Label('vdd', (119.5,10.6), layer=62, texttype=0))

lib.write_gds('scn4m_subm-spice-710-128x8_precharge_array.gds')
